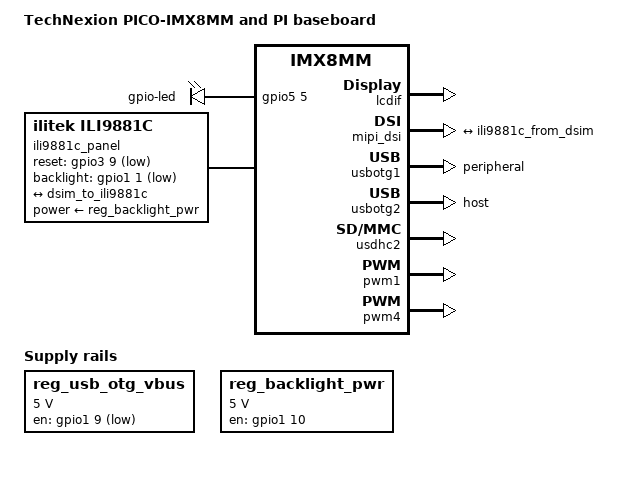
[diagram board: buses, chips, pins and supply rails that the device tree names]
// SPDX-License-Identifier: (GPL-2.0+ OR MIT)
/*
 * Copyright 2020 Technexion Ltd.
 *
 * Author: Richard Hu <richard.hu@technexion.com>
 *
 */

/dts-v1/;

#include "imx8mm-pico.dtsi"

/ {
	model = "TechNexion PICO-IMX8MM and PI baseboard";
	compatible = "fsl,imx8mm-pico", "fsl,imx8mm";

	regulators {
		compatible = "simple-bus";
		#address-cells = <1>;
		#size-cells = <0>;

		reg_usb_otg_vbus: usb_otg_vbus {
			pinctrl-names = "default";
			pinctrl-0 = <&pinctrl_otg_vbus>;
			compatible = "regulator-fixed";
			regulator-name = "usb_otg_vbus";
			regulator-min-microvolt = <5000000>;
			regulator-max-microvolt = <5000000>;
			gpio = <&gpio1 9 GPIO_ACTIVE_LOW>;
			enable-active-low;
		};

		reg_backlight_pwr: regulator_blpwr {
			pinctrl-names = "default";
			pinctrl-0 = <&pinctrl_backlight_pwr>;
			compatible = "regulator-fixed";
			regulator-name = "backlight_pwr";
			regulator-min-microvolt = <5000000>;
			regulator-max-microvolt = <5000000>;
			gpio = <&gpio1 10 GPIO_ACTIVE_HIGH>;
			enable-active-high;
		};
	};

	leds {
		compatible = "gpio-leds";
		pinctrl-names = "default";
		pinctrl-0 = <&pinctrl_gpio_led>;

		led {
			label = "gpio-led";
			gpios = <&gpio5 5 GPIO_ACTIVE_HIGH>;
		};
	};

	dsi_host: dsi-host {
		compatible = "samsung,sec-mipi-dsi";
		status = "okay";
	};

	ili9881c_panel {
		compatible = "ilitek,ili9881c";
		pinctrl-names = "default";
		pinctrl-0 = <&pinctrl_mipi_dsi_rst>;
		power-supply = <&reg_backlight_pwr>;
		reset-gpio = <&gpio3 9 GPIO_ACTIVE_LOW>;
		backlight-gpio = <&gpio1 1 GPIO_ACTIVE_LOW>;
		dsi-lanes = <4>;
		video-mode = <2>;	/* 0: burst mode
					 * 1: non-burst mode with sync event
					 * 2: non-burst mode with sync pulse
					 */
		status = "okay";

		port {
			ili9881c_from_dsim: endpoint {
				remote-endpoint = <&dsim_to_ili9881c>;
			};
		};
	};
};

&lcdif {
	enable_polarity_low;
	/delete-property/ assigned-clocks;
	/delete-property/ assigned-clock-parents;
	/delete-property/ assigned-clock-rates;
	display = <&display0>;
	status = "okay";

	display0: display@0 {
		bits-per-pixel = <24>;
		bus-width = <24>;
	};
};

&mipi_dsi {
	/delete-property/ assigned-clocks;
	/delete-property/ assigned-clock-parents;
	/delete-property/ assigned-clock-rates;
	status = "okay";

	port@1 {
		dsim_to_ili9881c: endpoint {
			remote-endpoint = <&ili9881c_from_dsim>;
		};
	};
};

&iomuxc {
	pinctrl_otg_vbus: otgvbusgrp {
		fsl,pins = <
			MX8MM_IOMUXC_GPIO1_IO09_GPIO1_IO9		0x19   /* USB OTG VBUS Enable */
		>;
	}; 
	pinctrl_backlight_pwr: backlight_pwrgrp {
		fsl,pins = <
			MX8MM_IOMUXC_GPIO1_IO10_GPIO1_IO10		0x19
			MX8MM_IOMUXC_GPIO1_IO01_GPIO1_IO1		0x16
		>;
	};
	pinctrl_dsi_pwm: dsi_pwm {
		fsl,pins = <
			MX8MM_IOMUXC_GPIO1_IO01_PWM1_OUT		0x16	/* DSI PWM */
		>;
	};
	pinctrl_fan_pwm: fan_pwm {
		fsl,pins = <
			MX8MM_IOMUXC_SAI3_MCLK_PWM4_OUT			0x16	/* PWM for FAN */
		>;
	};
	pinctrl_tusb320_irq: tusb320_irqgrp {
		fsl,pins = <
			MX8MM_IOMUXC_NAND_CE0_B_GPIO3_IO1		0x41
		>;
	};
	pinctrl_csi_pwn: csi_pwn_grp {
		fsl,pins = <
			MX8MM_IOMUXC_ECSPI2_MOSI_GPIO5_IO11		0x19
		>;
	};
	pinctrl_csi_rst: csi_rst_grp {
		fsl,pins = <
			MX8MM_IOMUXC_GPIO1_IO05_GPIO1_IO5		0x19
			MX8MM_IOMUXC_GPIO1_IO14_CCMSRCGPCMIX_CLKO1	0x59
		>;
	};
	pinctrl_mipi_dsi_rst: mipi_dsi_rst {
		fsl,pins = <
			MX8MM_IOMUXC_NAND_DATA03_GPIO3_IO9	0x16   /* DSI RST */
		>;
	};
	pinctrl_touch_irq: touch_irqgrp {
		fsl,pins = <
			MX8MM_IOMUXC_GPIO1_IO07_GPIO1_IO7	0x19   /* Touch INT */
		>;
	};
	pinctrl_touch_rst: touch_rstgrp {
		fsl,pins = <
			MX8MM_IOMUXC_SAI3_RXFS_GPIO4_IO28	0x16   /* GPIO_P42, Touch RST */
		>;
	};
	pinctrl_gpio_led: gpioledgrp {
		fsl,pins = <
			MX8MM_IOMUXC_SPDIF_EXT_CLK_GPIO5_IO5	0x19
		>;
	};
	pinctrl_tfa98xx: tfa98xx_ctrlgrp {
		fsl,pins = <
			MX8MM_IOMUXC_ECSPI2_SCLK_GPIO5_IO10	0x19 /* RST */
			MX8MM_IOMUXC_ECSPI2_MISO_GPIO5_IO12	0x19 /* INT */
		>;
	};
	pinctrl_gpio_key_voicehat: gpiokey_voicehatgrp {
		fsl,pins = <
			MX8MM_IOMUXC_NAND_ALE_GPIO3_IO0			0x41 /* GPIO_P25, KEY_PREV */
			MX8MM_IOMUXC_SPDIF_RX_GPIO5_IO4			0x41 /* PWM2, KEY_PLAY */
			MX8MM_IOMUXC_I2C4_SCL_GPIO5_IO20		0x41 /* GPIO_P44, KEY_NEXT */
			MX8MM_IOMUXC_NAND_DATA01_GPIO3_IO7		0x41 /* GPIO_P30, KEY_UP */
			MX8MM_IOMUXC_NAND_READY_B_GPIO3_IO16		0x41 /* GPIO_P26, KEY_DOWN */
			MX8MM_IOMUXC_NAND_DATA00_GPIO3_IO6		0x41 /* GPIO_P28, KEY_MUTE */
			MX8MM_IOMUXC_ECSPI2_SS0_GPIO5_IO13		0x41 /* ECSPI2_SS0, KEY_PAIR */
			MX8MM_IOMUXC_SPDIF_TX_GPIO5_IO3			0x41 /* PWM3, KEY_ACT */
		>;
	};
};

&usbotg1 {
	dr_mode = "peripheral";
	status = "okay";
};

&usbotg2 {
	dr_mode = "host";
	status = "okay";
};

/* SD card on CLIX connector */
&usdhc2 {
	status = "okay";
};

&pwm1 {
	pinctrl-names = "default";
	pinctrl-0 = <&pinctrl_dsi_pwm>;
	status = "okay";
};

&pwm4 {
	pinctrl-names = "default";
	pinctrl-0 = <&pinctrl_fan_pwm>;
	status = "okay";
};
